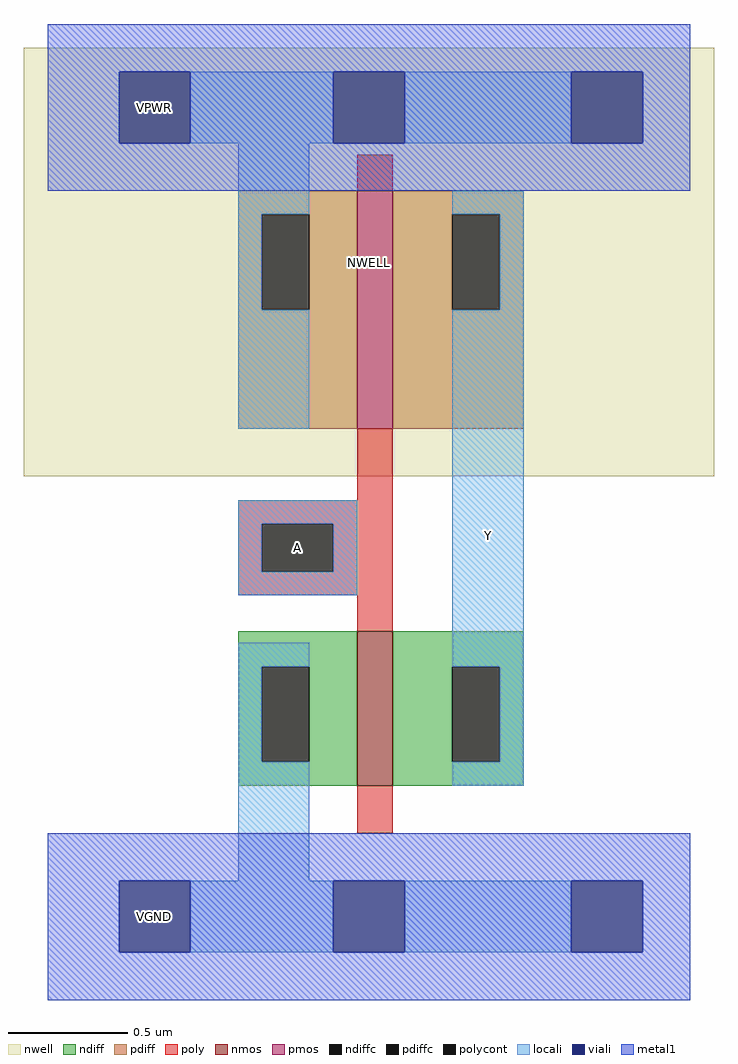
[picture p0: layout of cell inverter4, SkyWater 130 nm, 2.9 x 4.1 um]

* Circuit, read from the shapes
.subckt inverter4 A NWELL VGND VPWR Y
XM1 Y A VGND VSUBS sky130_fd_pr__nfet_01v8 w=0.65 l=0.15
XM2 Y A VPWR NWELL sky130_fd_pr__pfet_01v8 w=1 l=0.15
.ends

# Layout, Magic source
magic
tech sky130A
<< nwell >>
rect -140 -20 150 160
<< nmos >>
rect 0 -150 15 -85
<< pmos >>
rect 0 0 15 100
<< ndiff >>
rect -50 -100 0 -85
rect -50 -140 -40 -100
rect -20 -140 0 -100
rect -50 -150 0 -140
rect 15 -100 70 -85
rect 15 -140 40 -100
rect 60 -140 70 -100
rect 15 -150 70 -140
<< pdiff >>
rect -50 90 0 100
rect -50 50 -40 90
rect -20 50 0 90
rect -50 0 0 50
rect 15 90 70 100
rect 15 50 40 90
rect 60 50 70 90
rect 15 0 70 50
<< ndiffc >>
rect -40 -140 -20 -100
rect 40 -140 60 -100
<< pdiffc >>
rect -40 50 -20 90
rect 40 50 60 90
<< poly >>
rect 0 100 15 115
rect 0 -30 15 0
rect -50 -40 15 -30
rect -50 -60 -40 -40
rect -10 -60 15 -40
rect -50 -70 15 -60
rect 0 -85 15 -70
rect 0 -170 15 -150
<< polycont >>
rect -40 -60 -10 -40
<< locali >>
rect -70 120 -10 150
rect 20 120 90 150
rect -50 90 -20 120
rect -50 50 -40 90
rect -50 0 -20 50
rect 40 90 70 100
rect 60 50 70 90
rect -50 -40 0 -30
rect -50 -60 -40 -40
rect -10 -60 0 -40
rect -50 -70 0 -60
rect -50 -100 -20 -90
rect -50 -140 -40 -100
rect -50 -190 -20 -140
rect 40 -100 70 50
rect 60 -140 70 -100
rect 40 -150 70 -140
rect -70 -220 -10 -190
rect 20 -220 90 -190
<< viali >>
rect -100 120 -70 150
rect -10 120 20 150
rect 90 120 120 150
rect -100 -220 -70 -190
rect -10 -220 20 -190
rect 90 -220 120 -190
<< metal1 >>
rect -130 150 140 170
rect -130 120 -100 150
rect -70 120 -10 150
rect 20 120 90 150
rect 120 120 140 150
rect -130 100 140 120
rect -130 -190 140 -170
rect -130 -220 -100 -190
rect -70 -220 -10 -190
rect 20 -220 90 -190
rect 120 -220 140 -190
rect -130 -240 140 -220
<< labels >>
rlabel viali -100 120 -70 150 1 VPWR
rlabel nwell -140 -20 150 160 1 NWELL
rlabel polycont -40 -60 -10 -40 1 A
rlabel locali 40 -60 70 -30 1 Y
rlabel viali -100 -220 -70 -190 1 VGND
<< end >>
